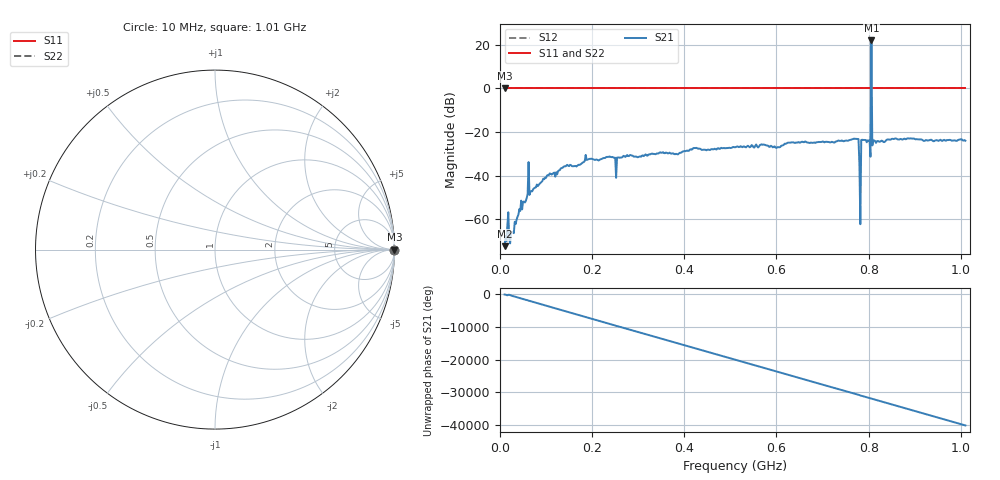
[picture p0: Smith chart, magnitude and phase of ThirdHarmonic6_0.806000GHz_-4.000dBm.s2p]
! 8/16/2025 2:50:51 AM
! C:\ANRITSUVNA\TEMP\TEMP.S2P
! CHANNEL.1
! TR.MEASUREMENT
! RAW.DATA
! RF.CORRECTION.OFF
! AVERAGING.OFF
! IF.BANDWIDTH: 5KHZ
! SWEEPTYPE:  FREQ.SWEEP(Linear)
! Reference Plane Port Info
! PORT:  PORT1  PORT2
! DISTANCE:  0  m  0  m
! TIME:  0  s  0  s
! PHASE.OFFSET:  0  deg.  0  deg.
! LOSS:  0  dB  0  dB
! REF.LOSS:  0  dB  0  dB
! REF.FREQ:  0  Hz  0  Hz
! Power Info
! POWER:  -20  dBm  -20  dBm
! EFF.POWER:  -20  dBm  -20  dBm
! SOURCE.ATTEN:  0  dB  0  dB
! TEST.ATTEN:  0  dB  0  dB
# GHZ S RI R 50.0
! FREQ.GHZ  S11RE  S11IM  S21RE  S21IM  S12RE  S12IM  S22RE  S22IM
!; PortSelection: Port_12
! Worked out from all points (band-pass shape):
!   501 points, 10 MHz to 1.01 GHz, reference 50 ohm
!   highest |S21| = 22.02 dB at 806 MHz (marker M1); lowest = -72.4 dB at 10 MHz (marker M2)
!   |S21| within 3 dB of the highest: 805.8875 MHz to 806.1246 MHz (237.1 kHz wide, 0.0294 % of centre)
!   lowest |S11| = 0.0 dB at 10 MHz (marker M3)
!   |S11| at or under -10 dB: nowhere
!   |S22| runs from 0.0 to 0.0 dB; largest |S21 - S12| = 13
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0.01  1 0  3.8e-06 -0.000241  1 0  1 0
0.016  1 0  0.000604 0.000387  1 0  1 0
0.026  1 0  -0.000344 -0.00035  1 0  1 0
0.064  1 0  -0.00282 0.00227  1 0  1 0
0.068  1 0  0.00367 -0.00241  1 0  1 0
0.178  1 0  -0.0187 -0.0051  1 0  1 0
0.344  1 0  0.0318 -0.00478  1 0  1 0
0.51  1 0  -0.0426 0.0138  1 0  1 0
0.678  1 0  -0.0239 -0.051  1 0  1 0
0.774  1 0  0.0643 -0.0255  1 0  1 0
0.776  1 0  -0.0163 -0.0677  1 0  1 0
0.778  1 0  -0.0689 0.00527  1 0  1 0
0.784  1 0  0.0263 -0.0602  1 0  1 0
0.786  1 0  -0.0558 -0.0362  1 0  1 0
0.788  1 0  -0.0443 0.0489  1 0  1 0
0.8  1 0  0.0627 0.0107  1 0  1 0
0.802  1 0  0.0202 -0.0613  1 0  1 0
0.806  1 0  -9.657 8.133  1 0  1 0
0.81  1 0  0.0538 -0.0354  1 0  1 0
0.812  1 0  -0.0269 -0.0581  1 0  1 0
0.844  1 0  0.0479 0.0475  1 0  1 0
1.01  1 0  -0.0606 -0.018  1 0  1 0
